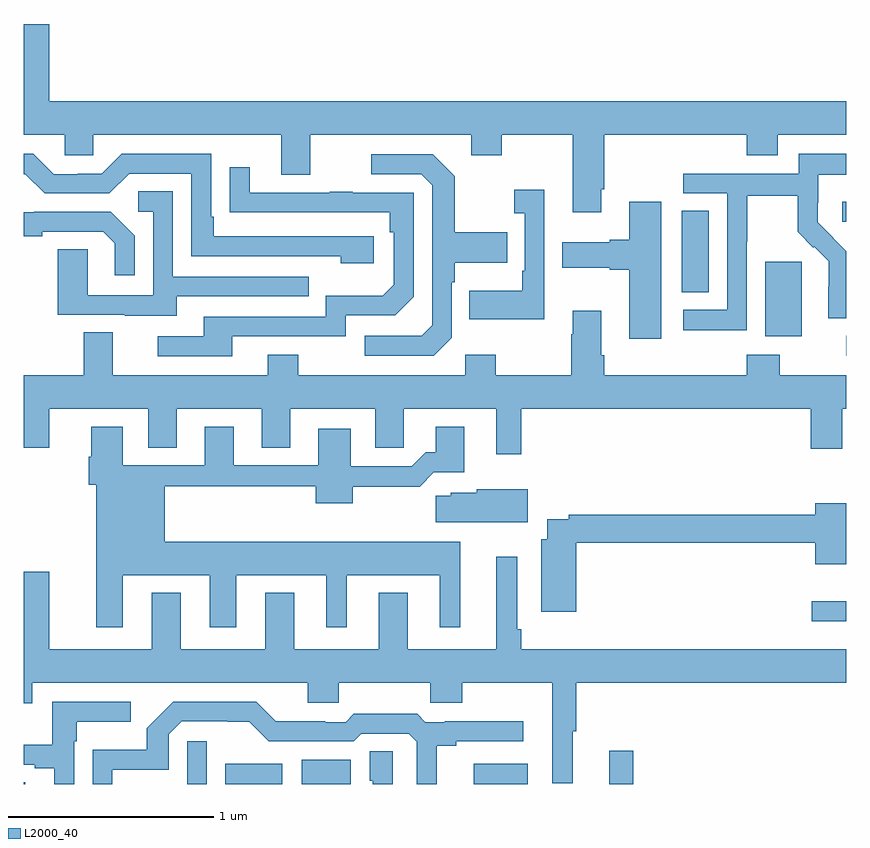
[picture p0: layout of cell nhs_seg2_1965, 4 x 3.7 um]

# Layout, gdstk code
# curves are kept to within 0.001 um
import gdstk
lib = gdstk.Library(unit=1e-6, precision=1e-09)
def R(c, l, rs):  # rectangles x0, y0, x1, y1
    for r in rs: c.add(gdstk.rectangle(r[:2], r[2:], *l))
def P(c, l, *ps):  # polygons
    for p in ps: c.add(gdstk.Polygon(p, *l))
L2000_40 = (2000, 40)

nhs_seg2_1965 = lib.new_cell('nhs_seg2_1965')
R(nhs_seg2_1965, L2000_40, [(213,657.8,213.007,657.809), (213.795,657.8,213.891,658.009), (213.98,657.8,214.258,657.898), (214.352,657.8,214.591,657.919), (215.189,657.8,215.452,657.898), (215.846,657.8,215.963,657.961), (216.831,658.592,217,658.689), (216.999,659.883,217,659.979), (216.605,659.978,216.784,660.339), (216.2,660.19,216.331,660.587), (216.981,660.534,217,660.631)])
P(nhs_seg2_1965, L2000_40, [(213.124,661.495),(213,661.495),(213,660.956),(213.201,660.956),(213.201,660.858),(213.339,660.858),(213.339,660.956),(214.253,660.956),(214.253,660.762),(214.393,660.762),(214.393,660.956),(215.177,660.956),(215.177,660.857),(215.325,660.857),(215.325,660.956),(215.669,660.956),(215.669,660.579),(215.809,660.579),(215.809,660.691),(215.822,660.691),(215.822,660.956),(216.515,660.956),(216.515,660.857),(216.667,660.857),(216.667,660.956),(217,660.956),(217,661.12),(213.124,661.12)],
  [(214.702,660.462),(213.925,660.462),(213.925,660.559),(213.912,660.559),(213.912,660.864),(213.477,660.864),(213.381,660.768),(213.263,660.768),(213.263,660.765),(213.147,660.765),(213.047,660.865),(213,660.865),(213,660.765),(213.009,660.765),(213.102,660.672),(213.417,660.672),(213.513,660.768),(213.816,660.768),(213.816,660.366),(214.541,660.366),(214.541,660.332),(214.702,660.332)],
  [(216.516,660.436),(216.519,660.436),(216.519,660.66),(216.763,660.66),(216.763,660.485),(216.84,660.408),(216.843,660.411),(216.914,660.341),(216.914,660.218),(216.912,660.218),(216.912,660.064),(217,660.064),(217,660.39),(216.862,660.53),(216.862,660.627),(216.864,660.627),(216.864,660.761),(217,660.761),(217,660.865),(216.768,660.865),(216.768,660.768),(216.207,660.768),(216.207,660.672),(216.42,660.672),(216.42,660.105),(216.207,660.105),(216.207,660.007),(216.516,660.007)],
  [(215.082,659.97),(215.082,660.239),(215.095,660.239),(215.095,660.335),(215.351,660.335),(215.351,660.483),(215.095,660.483),(215.095,660.755),(214.989,660.861),(214.689,660.861),(214.689,660.765),(214.932,660.765),(214.986,660.711),(214.986,660.03),(214.935,659.979),(214.659,659.979),(214.659,659.883),(214.995,659.883)],
  [(214.015,659.976),(214.566,659.976),(214.566,660.078),(214.806,660.078),(214.896,660.168),(214.896,660.675),(214.601,660.675),(214.601,660.68),(214.489,660.68),(214.489,660.675),(214.099,660.675),(214.099,660.799),(214.003,660.799),(214.003,660.58),(214.78,660.579),(214.78,660.482),(214.8,660.482),(214.8,660.228),(214.747,660.175),(214.47,660.175),(214.47,660.072),(213.875,660.072),(213.875,659.976),(213.651,659.976),(213.651,659.88),(214.015,659.88)],
  [(215.532,660.688),(215.385,660.688),(215.385,660.575),(215.436,660.575),(215.436,660.295),(215.424,660.295),(215.424,660.199),(215.167,660.199),(215.167,660.059),(215.532,660.059)],
  [(213.745,660.171),(214.385,660.171),(214.385,660.267),(213.726,660.267),(213.726,660.683),(213.558,660.683),(213.558,660.582),(213.63,660.582),(213.63,660.177),(213.312,660.177),(213.312,660.401),(213.167,660.401),(213.167,660.081),(213.491,660.081),(213.491,660.077),(213.745,660.077)],
  [(216.1,660.631),(215.945,660.631),(215.945,660.446),(215.849,660.446),(215.849,660.433),(215.619,660.433),(215.619,660.311),(215.849,660.311),(215.849,660.299),(215.945,660.299),(215.945,659.964),(216.1,659.964)],
  [(213.54,660.466),(213.424,660.582),(213.052,660.582),(213.052,660.579),(213,660.579),(213,660.464),(213.091,660.464),(213.091,660.486),(213.386,660.486),(213.443,660.429),(213.443,660.273),(213.54,660.273)],
  [(215.419,659.624),(216.827,659.624),(216.827,659.43),(216.979,659.43),(216.979,659.624),(217,659.624),(217,659.788),(216.675,659.788),(216.675,659.887),(216.515,659.887),(216.515,659.788),(215.822,659.788),(215.822,659.884),(215.809,659.884),(215.809,660.1),(215.669,660.1),(215.669,659.987),(215.662,659.987),(215.662,659.788),(215.295,659.788),(215.295,659.887),(215.148,659.887),(215.148,659.788),(214.335,659.788),(214.335,659.887),(214.187,659.887),(214.187,659.788),(213.433,659.788),(213.433,659.996),(213.293,659.996),(213.293,659.788),(213,659.788),(213,659.436),(213.124,659.436),(213.124,659.624),(213.605,659.624),(213.605,659.434),(213.745,659.434),(213.745,659.624),(214.157,659.624),(214.157,659.434),(214.297,659.434),(214.297,659.624),(214.709,659.624),(214.709,659.434),(214.848,659.434),(214.848,659.624),(215.297,659.624),(215.297,659.403),(215.419,659.403)],
  [(213.481,658.814),(213.905,658.814),(213.905,658.563),(214.033,658.563),(214.033,658.814),(214.472,658.814),(214.472,658.563),(214.57,658.563),(214.57,658.814),(215.024,658.814),(215.024,658.563),(215.122,658.563),(215.122,658.978),(213.685,658.978),(213.685,659.248),(214.421,659.248),(214.421,659.165),(214.599,659.165),(214.599,659.246),(214.925,659.246),(214.995,659.316),(215.143,659.316),(215.143,659.536),(215.003,659.536),(215.003,659.413),(214.954,659.413),(214.887,659.346),(214.591,659.346),(214.591,659.527),(214.433,659.527),(214.433,659.349),(214.021,659.349),(214.021,659.536),(213.881,659.536),(213.881,659.349),(213.481,659.349),(213.481,659.536),(213.329,659.536),(213.329,659.39),(213.317,659.39),(213.317,659.256),(213.353,659.256),(213.353,658.563),(213.481,658.563)],
  [(215.452,659.233),(215.202,659.233),(215.202,659.215),(215.076,659.215),(215.076,659.201),(215.004,659.201),(215.004,659.072),(215.452,659.072)],
  [(215.687,658.972),(216.848,658.972),(216.848,658.868),(217,658.868),(217,659.164),(216.848,659.164),(216.848,659.108),(215.65,659.108),(215.65,659.088),(215.546,659.088),(215.546,658.99),(215.516,658.99),(215.516,658.638),(215.687,658.638)],
  [(215.669,658.056),(215.687,658.056),(215.687,658.292),(217,658.292),(217,658.456),(215.419,658.456),(215.419,658.552),(215.401,658.552),(215.401,658.906),(215.297,658.906),(215.297,658.456),(214.867,658.456),(214.867,658.729),(214.727,658.729),(214.727,658.456),(214.315,658.456),(214.315,658.729),(214.175,658.729),(214.175,658.456),(213.763,658.456),(213.763,658.729),(213.623,658.729),(213.623,658.456),(213.124,658.456),(213.124,658.831),(213,658.831),(213,658.193),(213.043,658.193),(213.043,658.292),(214.382,658.292),(214.382,658.194),(214.533,658.194),(214.533,658.292),(214.978,658.292),(214.978,658.194),(215.133,658.194),(215.133,658.292),(215.57,658.292),(215.57,657.804),(215.669,657.804)],
  [(213.246,658.007),(213.259,658.007),(213.259,658.103),(213.52,658.103),(213.52,658.2),(213.138,658.2),(213.138,657.992),(213,657.992),(213,657.894),(213.053,657.894),(213.053,657.876),(213.149,657.876),(213.149,657.8),(213.246,657.8)],
  [(213.432,657.87),(213.705,657.87),(213.705,658.041),(213.768,658.104),(214.097,658.103),(214.191,658.008),(214.605,658.008),(214.641,658.044),(214.872,658.044),(214.911,658.005),(214.911,657.8),(215.009,657.8),(215.009,657.986),(215.104,657.986),(215.104,658.008),(215.428,658.008),(215.428,658.106),(215.047,658.106),(215.047,658.101),(214.953,658.101),(214.913,658.141),(214.606,658.141),(214.566,658.101),(214.466,658.101),(214.466,658.106),(214.226,658.106),(214.131,658.2),(213.728,658.2),(213.598,658.07),(213.598,657.967),(213.336,657.967),(213.336,657.8),(213.432,657.8)],
  [(214.794,657.959),(214.682,657.959),(214.682,657.816),(214.698,657.816),(214.698,657.8),(214.794,657.8)])

lib.write_gds('nhs_seg2_1965.gds')
